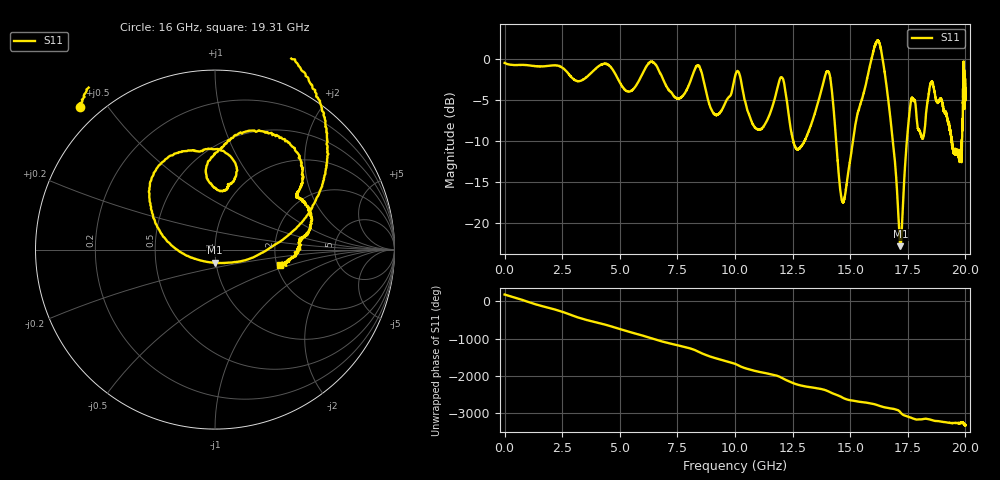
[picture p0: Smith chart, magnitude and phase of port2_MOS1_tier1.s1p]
! Created with skrf 1.8.0 (http://scikit-rf.org).
# GHz S RI R 50.0
!freq ReS11 ImS11
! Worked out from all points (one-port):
!   10001 points, 1 MHz to 20 GHz, reference 50 ohm
!   lowest |S11| = -22.8 dB at 17.18 GHz (marker M1), VSWR 1.16, Z = 49.4 - j7.21 ohm
!   |S11| at or under -10 dB: 12.53 GHz to 13.01 GHz (483.4 MHz wide, 3.79 % of centre); 14.39 GHz to 15.12 GHz (731 MHz wide, 4.95 % of centre); 16.85 GHz to 17.46 GHz (605.4 MHz wide, 3.53 % of centre) (the widest 3 of 10)
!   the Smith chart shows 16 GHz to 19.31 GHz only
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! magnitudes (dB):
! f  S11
! 1 MHz  -0.5
! 2.501 GHz  -1.1
! 4.419 GHz  -0.6
! 5.001 GHz  -2.9
! 5.507 GHz  -3.9
! 6.413 GHz  -0.4
! 7.501 GHz  -4.9
! 8.399 GHz  -0.8
! 9.245 GHz  -6.8
! 10 GHz  -2.2
! 11.03 GHz  -8.6
! 12.04 GHz  -2.3
! 12.5 GHz  -9.7
! 12.99 GHz  -10.2
! 14.02 GHz  -1.5
! 14.2 GHz  -3.8
! 14.63 GHz  -17.1
! 15 GHz  -12.3
! 15.33 GHz  -6.6
! 16.23 GHz  2.1
! 16.71 GHz  -6.5
! 17.18 GHz  -22.8
! 17.5 GHz  -8.7
! 17.73 GHz  -4.9
! 18.15 GHz  -9.6
! 18.54 GHz  -2.8
! 19.73 GHz  -11.9
! 20 GHz  -2.5
